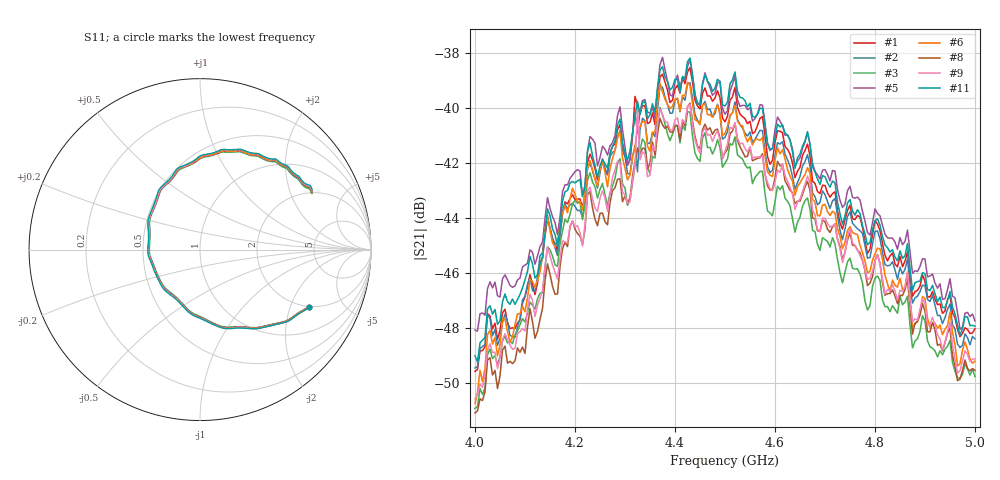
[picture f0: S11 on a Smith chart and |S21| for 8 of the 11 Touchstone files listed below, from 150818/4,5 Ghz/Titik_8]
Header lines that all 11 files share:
# Hz S RI R 50
! CMT, C1220, 16058040, 17.2.0/1
! Data: Format (Calibration Info)
! Freq  S11: Re/Im (F2)  S21: Re/Im (F2)  S12: Re/Im (F2)  S22: Re/Im (F2)
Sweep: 4 GHz to 5 GHz
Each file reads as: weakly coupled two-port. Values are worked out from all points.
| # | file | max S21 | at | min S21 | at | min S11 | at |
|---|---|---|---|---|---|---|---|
| 1 | Sudut_10_Titik_8.s2p | -38.55 dB | 4.43 GHz | -49.6 dB | 4 GHz | -10.7 dB | 4.315 GHz |
| 2 | Sudut_20_Titik_8.s2p | -39.10 dB | 4.43 GHz | -49.5 dB | 4 GHz | -10.7 dB | 4.315 GHz |
| 3 | Sudut_50_Titik_8.s2p | -39.99 dB | 4.37 GHz | -50.9 dB | 4 GHz | -10.9 dB | 4.315 GHz |
| 4 | Sudut_140_Titik_8.s2p | -39.53 dB | 4.43 GHz | -50.5 dB | 4 GHz | -10.8 dB | 4.315 GHz |
| 5 | Sudut_200_Titik_8.s2p | -38.17 dB | 4.375 GHz | -48.1 dB | 4.005 GHz | -10.8 dB | 4.315 GHz |
| 6 | Sudut_250_Titik_8.s2p | -39.08 dB | 4.425 GHz | -50.7 dB | 4 GHz | -10.7 dB | 4.315 GHz |
| 7 | Sudut_280_Titik_8.s2p | -39.81 dB | 4.43 GHz | -52.0 dB | 4 GHz | -10.8 dB | 4.315 GHz |
| 8 | Sudut_290_Titik_8.s2p | -39.84 dB | 4.43 GHz | -51.1 dB | 4 GHz | -10.8 dB | 4.315 GHz |
| 9 | Sudut_300_Titik_8.s2p | -39.88 dB | 4.43 GHz | -50.6 dB | 4 GHz | -10.8 dB | 4.315 GHz |
| 10 | Sudut_340_Titik_8.s2p | -38.28 dB | 4.43 GHz | -49.1 dB | 4.005 GHz | -10.6 dB | 4.315 GHz |
| 11 | Sudut_350_Titik_8.s2p | -38.20 dB | 4.43 GHz | -49.2 dB | 4.005 GHz | -10.6 dB | 4.315 GHz |
